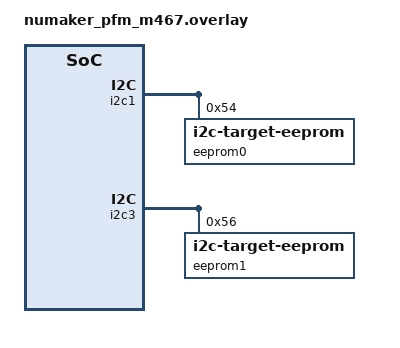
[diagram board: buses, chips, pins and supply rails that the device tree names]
/* SPDX-License-Identifier: Apache-2.0 */

&pinctrl {
	i2c1_default: i2c1_default {
		group0 {
			pinmux = <PB2MFP_I2C1_SDA>,  /* UNO D0 */
				 <PB3MFP_I2C1_SCL>;  /* UNO D1 */
		};
	};

	i2c3_default: i2c3_default {
		group0 {
			pinmux = <PG1MFP_I2C3_SDA>,  /* UNO D14 */
				 <PG0MFP_I2C3_SCL>;  /* UNO D15 */
		};
	};
};

&i2c1 {
	pinctrl-0 = <&i2c1_default>;
	pinctrl-names = "default";
	status = "okay";

	eeprom0: eeprom@54 {
		compatible = "zephyr,i2c-target-eeprom";
		reg = <0x54>;
		address-width = <16>;
		size = <1024>;
	};
};

&i2c3 {
	pinctrl-0 = <&i2c3_default>;
	pinctrl-names = "default";
	status = "okay";

	eeprom1: eeprom@56 {
		compatible = "zephyr,i2c-target-eeprom";
		reg = <0x56>;
		address-width = <16>;
		size = <1024>;
	};
};
